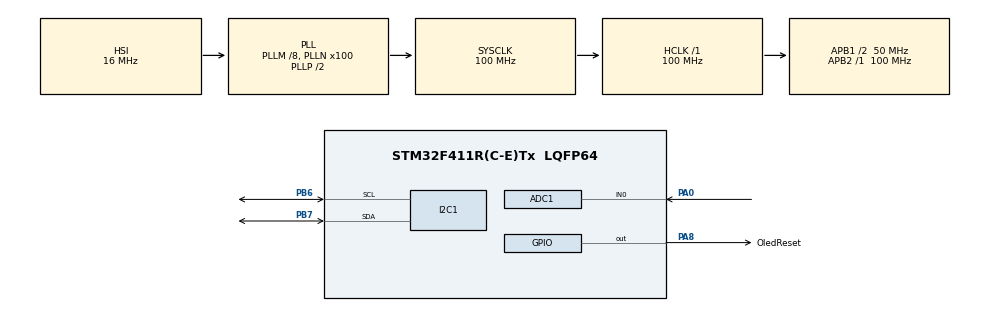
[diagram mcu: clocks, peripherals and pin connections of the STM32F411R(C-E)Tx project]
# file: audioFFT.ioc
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ADC1.Channel-0\#ChannelRegularConversion=ADC_CHANNEL_0
ADC1.ContinuousConvMode=ENABLE
ADC1.DMAContinuousRequests=ENABLE
ADC1.ExternalTrigConv=ADC_EXTERNALTRIGCONV_T3_TRGO
ADC1.NbrOfConversionFlag=1
ADC1.Rank-0\#ChannelRegularConversion=1
ADC1.SamplingTime-0\#ChannelRegularConversion=ADC_SAMPLETIME_3CYCLES
ADC1.master=1
Dma.ADC1.0.Direction=DMA_PERIPH_TO_MEMORY
Dma.ADC1.0.FIFOMode=DMA_FIFOMODE_DISABLE
Dma.ADC1.0.Instance=DMA2_Stream0
Dma.ADC1.0.MemDataAlignment=DMA_MDATAALIGN_HALFWORD
Dma.ADC1.0.MemInc=DMA_MINC_ENABLE
Dma.ADC1.0.Mode=DMA_CIRCULAR
Dma.ADC1.0.PeriphDataAlignment=DMA_PDATAALIGN_HALFWORD
Dma.ADC1.0.PeriphInc=DMA_PINC_DISABLE
Dma.ADC1.0.Priority=DMA_PRIORITY_LOW
Dma.Request0=ADC1
I2C1.I2C_Mode=I2C_Fast
Mcu.Family=STM32F4
Mcu.Name=STM32F411R(C-E)Tx
Mcu.Package=LQFP64
NVIC.DMA2_Stream0_IRQn=true\:0\:0\:false\:false\:true\:false\:true\:true
NVIC.PriorityGroup=NVIC_PRIORITYGROUP_4
NVIC.TIM3_IRQn=true\:0\:0\:false\:false\:true\:true\:true\:true
PA0-WKUP.Signal=ADCx_IN0
PA8.GPIO_Label=OledReset
PA8.Signal=GPIO_Output
PB6.GPIO_Pu=GPIO_PULLUP
PB6.Mode=I2C
PB6.Signal=I2C1_SCL
PB7.GPIO_Pu=GPIO_PULLUP
PB7.Mode=I2C
PB7.Signal=I2C1_SDA
ProjectManager.HeapSize=0x200
ProjectManager.StackSize=0x400
ProjectManager.TargetToolchain=STM32CubeIDE
RCC.48MHZClocksFreq_Value=50000000
RCC.AHBFreq_Value=100000000
RCC.APB1CLKDivider=RCC_HCLK_DIV2
RCC.APB1Freq_Value=50000000
RCC.APB1TimFreq_Value=100000000
RCC.APB2Freq_Value=100000000
RCC.APB2TimFreq_Value=100000000
RCC.CortexFreq_Value=100000000
RCC.HCLKFreq_Value=100000000
RCC.HSE_VALUE=25000000
RCC.HSI_VALUE=16000000
RCC.LSE_VALUE=32768
RCC.PLLM=8
RCC.PLLN=100
RCC.SYSCLKFreq_VALUE=100000000
RCC.SYSCLKSource=RCC_SYSCLKSOURCE_PLLCLK
RCC.VCOOutputFreq_Value=200000000
SH.ADCx_IN0.0=ADC1_IN0,IN0
TIM3.Period=25-1
TIM3.Prescaler=100-1
TIM3.TIM_MasterOutputTrigger=TIM_TRGO_UPDATE
VP_TIM3_VS_ClockSourceINT.Mode=Internal
board=custom

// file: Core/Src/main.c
/* USER CODE BEGIN Header */
/**
  ******************************************************************************
  * @file           : main.c
  * @brief          : Main program body
  ******************************************************************************
  * @attention
  *
  * Copyright (c) 2024 STMicroelectronics.
  * All rights reserved.
  *
  * This software is licensed under terms that can be found in the LICENSE file
  * in the root directory of this software component.
  * If no LICENSE file comes with this software, it is provided AS-IS.
  *
  ******************************************************************************
  */
/* USER CODE END Header */
#include "main.h"

/* USER CODE BEGIN Includes */
#include "arm_math.h"
#include "ssd1306.h"
/* USER CODE END Includes */

ADC_HandleTypeDef hadc1;
DMA_HandleTypeDef hdma_adc1;

I2C_HandleTypeDef hi2c1;

TIM_HandleTypeDef htim3;

void SystemClock_Config(void);
static void MX_GPIO_Init(void);
static void MX_DMA_Init(void);
static void MX_ADC1_Init(void);
static void MX_I2C1_Init(void);
static void MX_TIM3_Init(void);

/* USER CODE BEGIN 0 */
#define SamplesFFT 2048
uint16_t adcValue[SamplesFFT];
float32_t input[SamplesFFT];
float32_t output[SamplesFFT];
uint32_t doConvert = SamplesFFT;
void HAL_TIM_PeriodElapsedCallback(TIM_HandleTypeDef *htim){
	if(doConvert >0) doConvert--;
}
/* USER CODE END 0 */

int main(void)
{

  /* MCU Configuration--------------------------------------------------------*/

  /* Reset of all peripherals, Initializes the Flash interface and the Systick. */
  HAL_Init();

  /* Configure the system clock */
  SystemClock_Config();

  /* Initialize all configured peripherals */
  MX_GPIO_Init();
  MX_DMA_Init();
  MX_ADC1_Init();
  MX_I2C1_Init();
  MX_TIM3_Init();
  /* USER CODE BEGIN 2 */
  arm_rfft_fast_instance_f32 fftInstance;
  HAL_ADC_Start_DMA(&hadc1, adcValue, SamplesFFT);
  HAL_TIM_Base_Start_IT(&htim3);
  ssd1306_Init();

  /* USER CODE END 2 */

  /* Infinite loop */
  /* USER CODE BEGIN WHILE */
  while (1)
  {
  	//2048개의 ADC�? ?��료되�?
  	if(doConvert == 0){
  		doConvert = SamplesFFT;
  		//FFT �?�?

  		for (int i = 0; i < SamplesFFT; i+=2) {
  			input[i] = (float32_t)adcValue[i/2];
  			input[i+1] = 0;
			}
  		arm_rfft_fast_init_f32(&fftInstance,SamplesFFT);
  		arm_rfft_fast_f32(&fftInstance, input, output, 0);

  		//출력 결과�? 128개로 분할
  		uint32_t showData[128] = {0,};
  		for(int i = 0; i<128; i++){
  			for(int j = 0; j <8; j++){
  				showData[i] += output[i*8+j];
  			}
  			showData[i] /= 128;
  		}
  		// OLED ?��?��
  		ssd1306_Fill(0);
  		for(int i = 0; i < 128; i++){
  			ssd1306_Line(i, 63, i, 64-showData[i], 1);

  		}
  		ssd1306_UpdateScreen();
  	}
    /* USER CODE END WHILE */

  }
}

void SystemClock_Config(void)
{
  RCC_OscInitTypeDef RCC_OscInitStruct = {0};
  RCC_ClkInitTypeDef RCC_ClkInitStruct = {0};

  /** Configure the main internal regulator output voltage
  */
  __HAL_RCC_PWR_CLK_ENABLE();
  __HAL_PWR_VOLTAGESCALING_CONFIG(PWR_REGULATOR_VOLTAGE_SCALE1);

  /** Initializes the RCC Oscillators according to the specified parameters
  * in the RCC_OscInitTypeDef structure.
  */
  RCC_OscInitStruct.OscillatorType = RCC_OSCILLATORTYPE_HSI;
  RCC_OscInitStruct.HSIState = RCC_HSI_ON;
  RCC_OscInitStruct.HSICalibrationValue = RCC_HSICALIBRATION_DEFAULT;
  RCC_OscInitStruct.PLL.PLLState = RCC_PLL_ON;
  RCC_OscInitStruct.PLL.PLLSource = RCC_PLLSOURCE_HSI;
  RCC_OscInitStruct.PLL.PLLM = 8;
  RCC_OscInitStruct.PLL.PLLN = 100;
  RCC_OscInitStruct.PLL.PLLP = RCC_PLLP_DIV2;
  RCC_OscInitStruct.PLL.PLLQ = 4;
  if (HAL_RCC_OscConfig(&RCC_OscInitStruct) != HAL_OK)
  {
    Error_Handler();
  }

  /** Initializes the CPU, AHB and APB buses clocks
  */
  RCC_ClkInitStruct.ClockType = RCC_CLOCKTYPE_HCLK|RCC_CLOCKTYPE_SYSCLK
                              |RCC_CLOCKTYPE_PCLK1|RCC_CLOCKTYPE_PCLK2;
  RCC_ClkInitStruct.SYSCLKSource = RCC_SYSCLKSOURCE_PLLCLK;
  RCC_ClkInitStruct.AHBCLKDivider = RCC_SYSCLK_DIV1;
  RCC_ClkInitStruct.APB1CLKDivider = RCC_HCLK_DIV2;
  RCC_ClkInitStruct.APB2CLKDivider = RCC_HCLK_DIV1;

  if (HAL_RCC_ClockConfig(&RCC_ClkInitStruct, FLASH_LATENCY_3) != HAL_OK)
  {
    Error_Handler();
  }
}

static void MX_ADC1_Init(void)
{

  ADC_ChannelConfTypeDef sConfig = {0};

  /** Configure the global features of the ADC (Clock, Resolution, Data Alignment and number of conversion)
  */
  hadc1.Instance = ADC1;
  hadc1.Init.ClockPrescaler = ADC_CLOCK_SYNC_PCLK_DIV4;
  hadc1.Init.Resolution = ADC_RESOLUTION_12B;
  hadc1.Init.ScanConvMode = DISABLE;
  hadc1.Init.ContinuousConvMode = ENABLE;
  hadc1.Init.DiscontinuousConvMode = DISABLE;
  hadc1.Init.ExternalTrigConvEdge = ADC_EXTERNALTRIGCONVEDGE_RISING;
  hadc1.Init.ExternalTrigConv = ADC_EXTERNALTRIGCONV_T3_TRGO;
  hadc1.Init.DataAlign = ADC_DATAALIGN_RIGHT;
  hadc1.Init.NbrOfConversion = 1;
  hadc1.Init.DMAContinuousRequests = ENABLE;
  hadc1.Init.EOCSelection = ADC_EOC_SINGLE_CONV;
  if (HAL_ADC_Init(&hadc1) != HAL_OK)
  {
    Error_Handler();
  }

  /** Configure for the selected ADC regular channel its corresponding rank in the sequencer and its sample time.
  */
  sConfig.Channel = ADC_CHANNEL_0;
  sConfig.Rank = 1;
  sConfig.SamplingTime = ADC_SAMPLETIME_3CYCLES;
  if (HAL_ADC_ConfigChannel(&hadc1, &sConfig) != HAL_OK)
  {
    Error_Handler();
  }

}

static void MX_I2C1_Init(void)
{

  hi2c1.Instance = I2C1;
  hi2c1.Init.ClockSpeed = 400000;
  hi2c1.Init.DutyCycle = I2C_DUTYCYCLE_2;
  hi2c1.Init.OwnAddress1 = 0;
  hi2c1.Init.AddressingMode = I2C_ADDRESSINGMODE_7BIT;
  hi2c1.Init.DualAddressMode = I2C_DUALADDRESS_DISABLE;
  hi2c1.Init.OwnAddress2 = 0;
  hi2c1.Init.GeneralCallMode = I2C_GENERALCALL_DISABLE;
  hi2c1.Init.NoStretchMode = I2C_NOSTRETCH_DISABLE;
  if (HAL_I2C_Init(&hi2c1) != HAL_OK)
  {
    Error_Handler();
  }

}

static void MX_TIM3_Init(void)
{

  TIM_ClockConfigTypeDef sClockSourceConfig = {0};
  TIM_MasterConfigTypeDef sMasterConfig = {0};

  htim3.Instance = TIM3;
  htim3.Init.Prescaler = 100-1;
  htim3.Init.CounterMode = TIM_COUNTERMODE_UP;
  htim3.Init.Period = 25-1;
  htim3.Init.ClockDivision = TIM_CLOCKDIVISION_DIV1;
  htim3.Init.AutoReloadPreload = TIM_AUTORELOAD_PRELOAD_DISABLE;
  if (HAL_TIM_Base_Init(&htim3) != HAL_OK)
  {
    Error_Handler();
  }
  sClockSourceConfig.ClockSource = TIM_CLOCKSOURCE_INTERNAL;
  if (HAL_TIM_ConfigClockSource(&htim3, &sClockSourceConfig) != HAL_OK)
  {
    Error_Handler();
  }
  sMasterConfig.MasterOutputTrigger = TIM_TRGO_UPDATE;
  sMasterConfig.MasterSlaveMode = TIM_MASTERSLAVEMODE_DISABLE;
  if (HAL_TIMEx_MasterConfigSynchronization(&htim3, &sMasterConfig) != HAL_OK)
  {
    Error_Handler();
  }

}

static void MX_DMA_Init(void)
{

  /* DMA controller clock enable */
  __HAL_RCC_DMA2_CLK_ENABLE();

  /* DMA interrupt init */
  /* DMA2_Stream0_IRQn interrupt configuration */
  HAL_NVIC_SetPriority(DMA2_Stream0_IRQn, 0, 0);
  HAL_NVIC_EnableIRQ(DMA2_Stream0_IRQn);

}

static void MX_GPIO_Init(void)
{
  GPIO_InitTypeDef GPIO_InitStruct = {0};

  /* GPIO Ports Clock Enable */
  __HAL_RCC_GPIOA_CLK_ENABLE();
  __HAL_RCC_GPIOB_CLK_ENABLE();

  /*Configure GPIO pin Output Level */
  HAL_GPIO_WritePin(OledReset_GPIO_Port, OledReset_Pin, GPIO_PIN_RESET);

  /*Configure GPIO pin : OledReset_Pin */
  GPIO_InitStruct.Pin = OledReset_Pin;
  GPIO_InitStruct.Mode = GPIO_MODE_OUTPUT_PP;
  GPIO_InitStruct.Pull = GPIO_NOPULL;
  GPIO_InitStruct.Speed = GPIO_SPEED_FREQ_LOW;
  HAL_GPIO_Init(OledReset_GPIO_Port, &GPIO_InitStruct);

}

void Error_Handler(void)
{
  __disable_irq();
  while (1)
  {
  }
}
